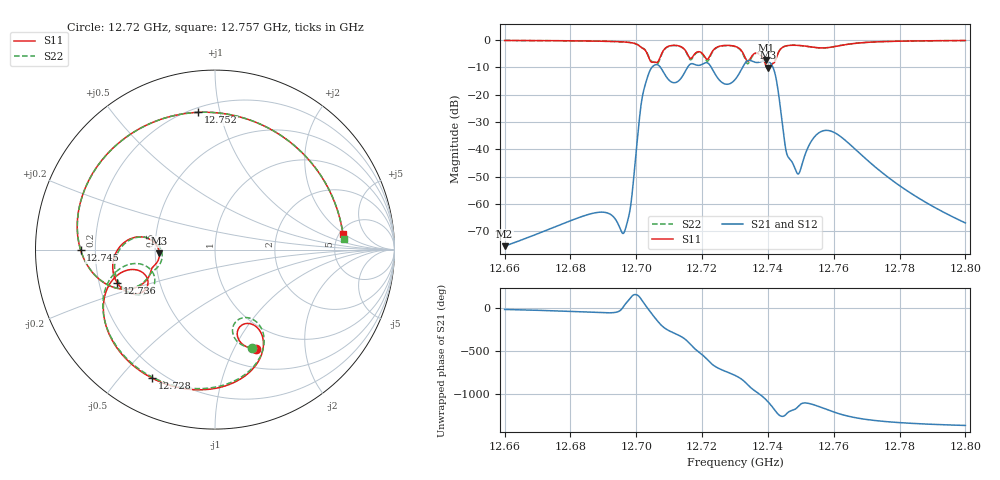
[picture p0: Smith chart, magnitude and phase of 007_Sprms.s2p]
! TOUCHSTONE file generated by CST MICROWAVE STUDIO
! Date and time: Wed Jul 31 10:56:20 2024
! Project name: WaveGuide_BPF-Ver4.1_U-shape_Ku_T3_C4_CWA_2.cst
! Parameters = {cavity_h=16; cavity_l0=10; cavity_l1=15.202; cavity_l2=16.8123; cavity_l3=17.14; cavity_l4=17.2793; cavity_l5=17.1533; cavity_l6=17.6235; cavity_r=2.5; cavity_screw_l=0.5; cavity_screw_r=1.5; cavity_w=8; iris_h00=0; iris_h01=8.8171; iris_h112=0; iris_h12=5.587; iris_h211=3.6586; iris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
! Header version: 2018
! Port assignment regex: !\s*Touchstone port\s*([0-9]+)\s*=\s*(CST MWS port|CST DS port)\s*([0-9]+|Zmin|Zmax)\s*\(\"(.*)\"\)(\s*mode\s*([0-9]+))?.*
! Touchstone port assignment:
! Touchstone port 1 = CST MWS port 1 ("")
! Touchstone port 2 = CST MWS port 2 ("")
# GHz S RI R 50
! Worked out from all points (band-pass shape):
!   5001 points, 12.66 GHz to 12.8 GHz, reference 50 ohm
!   highest |S21| = -7.40 dB at 12.739 GHz (marker M1); lowest = -75.4 dB at 12.66 GHz (marker M2)
!   |S21| within 3 dB of the highest: 12.71538 GHz to 12.723 GHz (7.621 MHz wide, 0.0599 % of centre); 12.73212 GHz to 12.74168 GHz (9.559 MHz wide, 0.0751 % of centre)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
!   lowest |S11| = -10.2 dB at 12.74 GHz (marker M3), VSWR 1.90, Z = 26.3 - j1.15 ohm
!   |S11| at or under -10 dB: 12.73978 GHz to 12.74031 GHz (534.1 kHz wide, 0.00419 % of centre)
!   |S22| runs from -10.6 to -0.2 dB; largest |S21 - S12| = 1e-09
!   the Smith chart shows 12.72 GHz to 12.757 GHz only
!   S11 on the Smith chart (normalised r, x): 12.72 GHz: 0.71, -1.23; 12.728 GHz: 0.16, -0.61; 12.736 GHz: 0.28, -0.15; 12.745 GHz: 0.14, -0.00; 12.752 GHz: 0.23, +0.86; 12.757 GHz: 5.38, +1.92
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12.66  0.3008 0.9348  0.000158 -6.24e-05  0.000158 -6.24e-05  0.3056 0.9333
12.68335  0.6931 0.6693  0.000381 -0.000449  0.000381 -0.000449  0.6971 0.665
12.69646  0.905 0.1616  0.000277 0.000154  0.000277 0.000154  0.9064 0.155
12.70211  0.6564 -0.2378  0.054 0.0959  0.054 0.0959  0.6624 -0.2452
12.70668  0.4044 0.0531  -0.3358 -0.0929  -0.3358 -0.0929  0.3807 0.037
12.71051  0.7652 -0.1966  0.0219 0.1721  0.0219 0.1721  0.7571 -0.2076
12.71527  0.2929 -0.5192  0.2795 -0.0919  0.2795 -0.0919  0.2609 -0.5183
12.71958  0.2296 -0.5529  -0.3444 -0.0635  -0.3444 -0.0635  0.2063 -0.5463
12.7221  0.2216 -0.4238  -0.0612 0.3583  -0.0612 0.3583  0.214 -0.3906
12.72796  -0.3505 -0.7159  0.1371 -0.0743  0.1371 -0.0743  -0.3596 -0.7053
12.73  -0.566 -0.5171  0.0895 -0.1661  0.0895 -0.1661  -0.5758 -0.4946
12.73619  -0.546 -0.1834  -0.1698 0.3525  -0.1698 0.3525  -0.5304 -0.1921
12.73935  -0.3471 0.0475  0.3996 0.149  0.3996 0.149  -0.3331 0.0448
12.74002  -0.3098 -0.0197  0.4135 -0.0461  0.4135 -0.0461  -0.2945 -0.0286
12.7447  -0.7487 -0.00287  -0.0205 -0.00261  -0.0205 -0.00261  -0.7525 0.0126
12.7489  -0.5245 0.604  0.00113 -0.00347  0.00113 -0.00347  -0.5101 0.6147
12.75164  -0.0929 0.7648  0.00857 -0.00316  0.00857 -0.00316  -0.071 0.7654
12.75335  0.2275 0.7094  0.0122 -0.00814  0.0122 -0.00814  0.2501 0.7002
12.75722  0.7128 0.0865  0.00179 -0.0221  0.00179 -0.0221  0.7166 0.0602
12.76402  0.049 -0.8298  -0.0135 -0.00271  -0.0135 -0.00271  0.0317 -0.8328
12.77668  -0.8421 -0.423  -0.00166 0.00255  -0.00166 0.00255  -0.8465 -0.415
12.8  -0.9549 0.2138  6.99e-05 0.000446  6.99e-05 0.000446  -0.9535 0.2203
